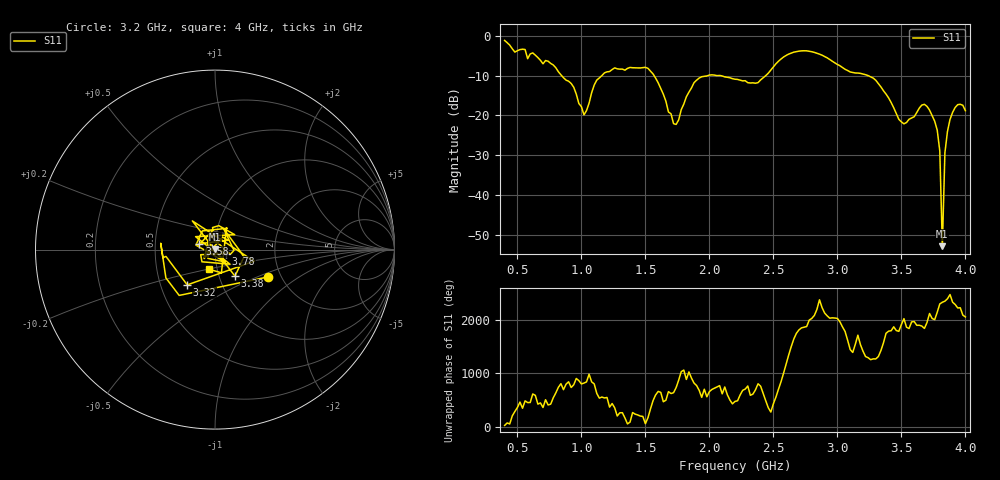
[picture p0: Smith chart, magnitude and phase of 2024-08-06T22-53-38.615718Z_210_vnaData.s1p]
!Created with skrf (http://scikit-rf.org).
# Hz S RI R 50.0
!freq ReS11 ImS11
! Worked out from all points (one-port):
!   181 points, 400 MHz to 4 GHz, reference 50 ohm
!   lowest |S11| = -52.8 dB at 3.82 GHz (marker M1), VSWR 1.00, Z = 49.8 + j0.0573 ohm
!   |S11| at or under -10 dB: 1.568 GHz to 1.988 GHz (420.9 MHz wide, 23.7 % of centre); 2.084 GHz to 2.441 GHz (356.8 MHz wide, 15.8 % of centre); 3.239 GHz to end of sweep (the widest 3 of 5)
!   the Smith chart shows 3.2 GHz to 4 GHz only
!   S11 on the Smith chart (normalised r, x): 3.2 GHz: 1.70, -0.58; 3.32 GHz: 0.68, -0.29; 3.38 GHz: 1.19, -0.36; 3.58 GHz: 0.84, +0.06; 3.78 GHz: 1.13, -0.05; 4 GHz: 0.91, -0.20
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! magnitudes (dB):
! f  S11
! 400 MHz  -1.2
! 860 MHz  -10.5
! 940 MHz  -12.9
! 1.02 GHz  -19.9
! 1.12 GHz  -11.1
! 1.3 GHz  -8.4
! 1.52 GHz  -8.2
! 1.72 GHz  -22.1
! 1.76 GHz  -21.1
! 1.92 GHz  -10.6
! 2.2 GHz  -10.9
! 2.38 GHz  -11.8
! 2.66 GHz  -4.1
! 3.1 GHz  -9.1
! 3.2 GHz  -9.6
! 3.32 GHz  -12.0
! 3.38 GHz  -14.6
! 3.48 GHz  -21.0
! 3.56 GHz  -21.0
! 3.58 GHz  -20.6
! 3.68 GHz  -17.2
! 3.78 GHz  -23.7
! 3.8 GHz  -28.9
! 3.82 GHz  -52.8
! 3.84 GHz  -29.3
! 3.86 GHz  -24.0
! 3.92 GHz  -18.0
! 4 GHz  -18.8
